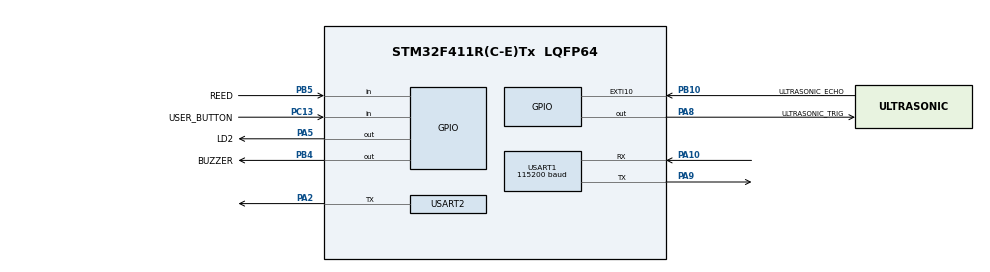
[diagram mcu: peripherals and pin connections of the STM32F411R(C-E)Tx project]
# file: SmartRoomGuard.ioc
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Mcu.Family=STM32F4
Mcu.Name=STM32F411R(C-E)Tx
Mcu.Package=LQFP64
NVIC.EXTI15_10_IRQn=true\:1\:0\:true\:false\:true\:true\:true\:true
NVIC.USART1_IRQn=true\:2\:0\:true\:false\:true\:true\:true\:true
PA2.Mode=Asynchronous
PA2.Signal=USART2_TX
PA5.GPIO_Label=LD2
PA5.Signal=GPIO_Output
PA8.GPIO_Label=ULTRASONIC_TRIG
PA8.Signal=GPIO_Output
PA9.Mode=Asynchronous
PA9.Signal=USART1_TX
PA10.Mode=Asynchronous
PA10.Signal=USART1_RX
PA13.Mode=Serial_Wire
PA13.Signal=SYS_JTMS-SWDIO
PA14.Mode=Serial_Wire
PA14.Signal=SYS_JTCK-SWCLK
PB4.GPIO_Label=BUZZER
PB4.Signal=GPIO_Output
PB5.GPIO_Label=REED
PB5.GPIO_PuPd=GPIO_PULLUP
PB5.Signal=GPIO_Input
PB10.GPIO_Label=ULTRASONIC_ECHO
PB10.GPIO_ModeDefaultEXTI=GPIO_MODE_IT_RISING_FALLING
PB10.Signal=GPXTI10
PC13.GPIO_Label=USER_BUTTON
PC13.Signal=GPIO_Input
RCC.HSI_VALUE=16000000
TIM2.Period=4294967295
TIM2.Prescaler=15
USART1.BaudRate=115200
USART1.VirtualMode=VM_ASYNC
USART2.BaudRate=115200
USART2.Mode=MODE_TX
USART2.VirtualMode=VM_ASYNC
VP_TIM2_VS_ClockSourceINT.Mode=Internal
board=custom
NVIC.PriorityGroup=NVIC_PRIORITYGROUP_4
ProjectManager.HeapSize=0x200
ProjectManager.StackSize=0x400
ProjectManager.TargetToolchain=STM32CubeIDE

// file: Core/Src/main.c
#include "main.h"

/* USER CODE BEGIN Includes */
#include <stdio.h>
#include <string.h>
#include "sensors.h"
/* USER CODE END Includes */

TIM_HandleTypeDef htim2;
UART_HandleTypeDef huart1;
UART_HandleTypeDef huart2;

/* USER CODE BEGIN PV */
enum
{
    ARM_DELAY_MS = 10000, //10 seconds to leave
    BUTTON_DEBOUNCE_MS = 25, // Debounce for B1 button
    BUZZER_BEEP_MS = 40,
    BUZZER_PERIOD_MS = 1000,
    STATUS_INTERVAL_MS = 2000,
    SERIAL_TX_TIMEOUT_MS = 10,
    COMMAND_RX_CAPACITY = 64
};

typedef enum
{
    DISARMED,
    ARMING,
    ARMED,
    ALARM,
    SILENCED
} AlarmState;

typedef enum
{
    NO_COMMAND,
    ARM_COMMAND,
    DISARM_COMMAND,
    SILENCE_COMMAND
} AlarmCommand;

static const char *const stateNames[] = {
    [DISARMED] = "DISARMED", [ARMING] = "ARMING", [ARMED] = "ARMED",
    [ALARM] = "ALARM", [SILENCED] = "SILENCED"
};

/* Inspect this snapshot in CubeIDE Live Expressions during sensor bring-up. */
static volatile SensorReadings sensorReadings = { .distanceCm = -1 };
static uint8_t receivedByte;
static volatile uint8_t commandRx[COMMAND_RX_CAPACITY];
static volatile uint8_t commandWrite;
static volatile uint8_t commandRead;
static volatile bool commandRxLost;
/* USER CODE END PV */

void SystemClock_Config(void);
static void MX_GPIO_Init(void);
static void MX_TIM2_Init(void);
static void MX_USART1_UART_Init(void);
static void MX_USART2_UART_Init(void);

/* USER CODE BEGIN PFP */
static bool ButtonPressed(uint32_t nowMs);
static AlarmCommand ReadCommand(void);
static AlarmState ApplyCommand(AlarmState state, AlarmCommand command);
static void UpdateIndicators(AlarmState state, uint32_t elapsedMs);
static void ReportStatus(AlarmState state, SensorReadings readings);
/* USER CODE END PFP */

int main(void)
{
    HAL_Init();
    SystemClock_Config();
    MX_GPIO_Init();
    MX_TIM2_Init();
    MX_USART1_UART_Init();
    MX_USART2_UART_Init();

    /* USER CODE BEGIN 2 */
    if (Sensors_Init(&htim2) != HAL_OK ||
        HAL_UART_Receive_IT(&huart1, &receivedByte, 1) != HAL_OK)
    {
        Error_Handler();
    }

    SensorReadings previous = Sensors_Update();
    AlarmState state = DISARMED;
    uint32_t stateStartedMs = HAL_GetTick();
    uint32_t lastReportMs = stateStartedMs - STATUS_INTERVAL_MS;
    /* USER CODE END 2 */

    while (1)
    {

        /* USER CODE BEGIN 3 */
        SensorReadings current = Sensors_Update();
        sensorReadings = current;
        uint32_t nowMs = HAL_GetTick();
        AlarmState next = state;

        if (state == ARMED && current.doorOpen && !previous.doorOpen)
        {
            next = ALARM;
        }
        else if (state == ARMING && nowMs - stateStartedMs >= ARM_DELAY_MS)
        {
            next = current.doorOpen ? ALARM : ARMED;
        }

        if (ButtonPressed(nowMs))
        {
            next = ApplyCommand(next, next == DISARMED ? ARM_COMMAND : DISARM_COMMAND);
        }
        next = ApplyCommand(next, ReadCommand());

        bool stateChanged = next != state;
        if (stateChanged)
        {
            state = next;
            stateStartedMs = nowMs;
        }
        UpdateIndicators(state, nowMs - stateStartedMs);

        bool statusDue = nowMs - lastReportMs >= STATUS_INTERVAL_MS;
        if (statusDue || stateChanged || current.doorOpen != previous.doorOpen ||
            current.distanceCm != previous.distanceCm)
        {
            ReportStatus(state, current);
        }
        if (statusDue)
        {
            lastReportMs = nowMs;
        }
        previous = current;
    }
    /* USER CODE END 3 */
}

void SystemClock_Config(void)
{
    RCC_OscInitTypeDef oscillator = {0};
    oscillator.OscillatorType = RCC_OSCILLATORTYPE_HSI;
    oscillator.HSIState = RCC_HSI_ON;
    oscillator.HSICalibrationValue = RCC_HSICALIBRATION_DEFAULT;
    oscillator.PLL.PLLState = RCC_PLL_NONE;
    if (HAL_RCC_OscConfig(&oscillator) != HAL_OK)
    {
        Error_Handler();
    }

    RCC_ClkInitTypeDef clock = {0};
    clock.ClockType = RCC_CLOCKTYPE_SYSCLK | RCC_CLOCKTYPE_HCLK |
                      RCC_CLOCKTYPE_PCLK1 | RCC_CLOCKTYPE_PCLK2;
    clock.SYSCLKSource = RCC_SYSCLKSOURCE_HSI;
    clock.AHBCLKDivider = RCC_SYSCLK_DIV1;
    clock.APB1CLKDivider = RCC_HCLK_DIV1;
    clock.APB2CLKDivider = RCC_HCLK_DIV1;
    if (HAL_RCC_ClockConfig(&clock, FLASH_LATENCY_0) != HAL_OK)
    {
        Error_Handler();
    }
}

static void MX_TIM2_Init(void)
{
    htim2.Instance = TIM2;
    htim2.Init.Prescaler = 15; /* 16 MHz / 16 = 1 MHz */
    htim2.Init.CounterMode = TIM_COUNTERMODE_UP;
    htim2.Init.Period = UINT32_MAX;
    htim2.Init.ClockDivision = TIM_CLOCKDIVISION_DIV1;
    htim2.Init.AutoReloadPreload = TIM_AUTORELOAD_PRELOAD_DISABLE;
    if (HAL_TIM_Base_Init(&htim2) != HAL_OK)
    {
        Error_Handler();
    }
}

static void InitUart(UART_HandleTypeDef *uart, USART_TypeDef *instance, uint32_t mode)
{
    uart->Instance = instance;
    uart->Init.BaudRate = 115200;
    uart->Init.WordLength = UART_WORDLENGTH_8B;
    uart->Init.StopBits = UART_STOPBITS_1;
    uart->Init.Parity = UART_PARITY_NONE;
    uart->Init.Mode = mode;
    uart->Init.HwFlowCtl = UART_HWCONTROL_NONE;
    uart->Init.OverSampling = UART_OVERSAMPLING_16;
    if (HAL_UART_Init(uart) != HAL_OK)
    {
        Error_Handler();
    }
}

static void MX_USART1_UART_Init(void)
{
    InitUart(&huart1, USART1, UART_MODE_TX_RX);
}

static void MX_USART2_UART_Init(void)
{
    InitUart(&huart2, USART2, UART_MODE_TX);
}

static void MX_GPIO_Init(void)
{
    GPIO_InitTypeDef gpio = {0};

    __HAL_RCC_GPIOA_CLK_ENABLE();
    __HAL_RCC_GPIOB_CLK_ENABLE();
    __HAL_RCC_GPIOC_CLK_ENABLE();

    HAL_GPIO_WritePin(GPIOA, LD2_Pin | ULTRASONIC_TRIG_Pin, GPIO_PIN_RESET);
    HAL_GPIO_WritePin(BUZZER_GPIO_Port, BUZZER_Pin, GPIO_PIN_RESET);

    gpio.Pin = LD2_Pin | ULTRASONIC_TRIG_Pin;
    gpio.Mode = GPIO_MODE_OUTPUT_PP;
    gpio.Pull = GPIO_NOPULL;
    gpio.Speed = GPIO_SPEED_FREQ_LOW;
    HAL_GPIO_Init(GPIOA, &gpio);

    gpio.Pin = BUZZER_Pin;
    HAL_GPIO_Init(BUZZER_GPIO_Port, &gpio);

    gpio.Pin = REED_Pin;
    gpio.Mode = GPIO_MODE_INPUT;
    gpio.Pull = GPIO_PULLUP;
    HAL_GPIO_Init(REED_GPIO_Port, &gpio);

    gpio.Pin = USER_BUTTON_Pin;
    gpio.Pull = GPIO_NOPULL;
    HAL_GPIO_Init(USER_BUTTON_GPIO_Port, &gpio);

    gpio.Pin = ULTRASONIC_ECHO_Pin;
    gpio.Mode = GPIO_MODE_IT_RISING_FALLING;
    gpio.Pull = GPIO_NOPULL;
    HAL_GPIO_Init(ULTRASONIC_ECHO_GPIO_Port, &gpio);

    HAL_NVIC_SetPriority(ULTRASONIC_ECHO_EXTI_IRQn, 1, 0);
    HAL_NVIC_EnableIRQ(ULTRASONIC_ECHO_EXTI_IRQn);
}

/* USER CODE BEGIN 4 */
static bool ButtonPressed(uint32_t nowMs)
{
    static bool lastRawPressed;
    static bool stablePressed;
    static uint32_t changedMs;
    bool rawPressed = HAL_GPIO_ReadPin(USER_BUTTON_GPIO_Port, USER_BUTTON_Pin) == GPIO_PIN_RESET;

    if (rawPressed != lastRawPressed)
    {
        lastRawPressed = rawPressed;
        changedMs = nowMs;
    }
    if (rawPressed != stablePressed && nowMs - changedMs >= BUTTON_DEBOUNCE_MS)
    {
        stablePressed = rawPressed;
        return stablePressed;
    }
    return false;
}

static AlarmCommand ReadCommand(void)
{
    static char line[sizeof "C,SILENCE\r"];
    static size_t length;
    static bool discardLine;

    while (commandRxLost || commandRead != commandWrite)
    {
        uint32_t primask = __get_PRIMASK();
        __disable_irq();
        if (commandRxLost)
        {
            commandRead = commandWrite;
            commandRxLost = false;
            discardLine = true;
            __set_PRIMASK(primask);
            continue;
        }
        uint8_t byte = commandRx[commandRead];
        commandRead = (commandRead + 1) % COMMAND_RX_CAPACITY;
        __set_PRIMASK(primask);

        if (byte == '\n')
        {
            AlarmCommand command = NO_COMMAND;
            if (!discardLine)
            {
                if (length > 0 && line[length - 1] == '\r')
                {
                    --length;
                }
                line[length] = '\0';
                if (strcmp(line, "C,ARM") == 0)
                {
                    command = ARM_COMMAND;
                }
                else if (strcmp(line, "C,DISARM") == 0)
                {
                    command = DISARM_COMMAND;
                }
                else if (strcmp(line, "C,SILENCE") == 0)
                {
                    command = SILENCE_COMMAND;
                }
            }
            length = 0;
            discardLine = false;
            if (command != NO_COMMAND)
            {
                return command;
            }
        }
        else if (length == sizeof line - 1 || byte == '\0')
        {
            discardLine = true;
        }
        else if (!discardLine)
        {
            line[length++] = (char)byte;
        }
    }
    return NO_COMMAND;
}

static AlarmState ApplyCommand(AlarmState state, AlarmCommand command)
{
    if (command == ARM_COMMAND && state == DISARMED)
    {
        return ARMING;
    }
    if (command == DISARM_COMMAND && (state == ARMED || state == ALARM || state == SILENCED))
    {
        return DISARMED;
    }
    if (command == SILENCE_COMMAND && state == ALARM)
    {
        return SILENCED;
    }
    return state;
}

static void UpdateIndicators(AlarmState state, uint32_t elapsedMs)
{
    bool ledOn = false;
    switch (state)
    {
        case DISARMED: break;
        case ARMING:   ledOn = elapsedMs % 500 < 250; break;
        case ARMED:    ledOn = true; break;
        case ALARM:    ledOn = elapsedMs % 200 < 100; break;
        case SILENCED: ledOn = elapsedMs % 2000 < 1000; break;
    }
    bool buzzerOn = state == ALARM && elapsedMs % BUZZER_PERIOD_MS < BUZZER_BEEP_MS;
    HAL_GPIO_WritePin(LD2_GPIO_Port, LD2_Pin, ledOn ? GPIO_PIN_SET : GPIO_PIN_RESET);
    HAL_GPIO_WritePin(BUZZER_GPIO_Port, BUZZER_Pin, buzzerOn ? GPIO_PIN_SET : GPIO_PIN_RESET);
}

static void ReportStatus(AlarmState state, SensorReadings readings)
{
    char message[64];
    int length = snprintf(message, sizeof message, "S,%s,%u,%ld\n",
                          stateNames[state], (unsigned)readings.doorOpen, (long)readings.distanceCm);
    if (length > 0 && (size_t)length < sizeof message)
    {
        HAL_UART_Transmit(&huart1, (const uint8_t *)message, (uint16_t)length, SERIAL_TX_TIMEOUT_MS);
    }

    length = snprintf(message, sizeof message, "state=%s door=%s distance_cm=%ld\r\n",
                      stateNames[state], readings.doorOpen ? "OPEN" : "CLOSED", (long)readings.distanceCm);
    if (length > 0 && (size_t)length < sizeof message)
    {
        HAL_UART_Transmit(&huart2, (const uint8_t *)message, (uint16_t)length, SERIAL_TX_TIMEOUT_MS);
    }
}

void HAL_UART_RxCpltCallback(UART_HandleTypeDef *uart)
{
    if (uart->Instance == USART1)
    {
        uint8_t nextWrite = (commandWrite + 1) % COMMAND_RX_CAPACITY;
        if (nextWrite == commandRead)
        {
            commandRxLost = true;
        }
        else if (!commandRxLost)
        {
            commandRx[commandWrite] = receivedByte;
            commandWrite = nextWrite;
        }
        HAL_UART_Receive_IT(uart, &receivedByte, 1);
    }
}

void HAL_UART_ErrorCallback(UART_HandleTypeDef *uart)
{
    if (uart->Instance == USART1)
    {
        commandRxLost = true;
        if (uart->RxState == HAL_UART_STATE_READY)
        {
            HAL_UART_Receive_IT(uart, &receivedByte, 1);
        }
    }
}

void HAL_GPIO_EXTI_Callback(uint16_t pin)
{
    if (pin == ULTRASONIC_ECHO_Pin)
    {
        Sensors_OnEchoEdge();
    }
}
/* USER CODE END 4 */

void Error_Handler(void)
{
    __disable_irq();
    while (1)
    {
    }
}
